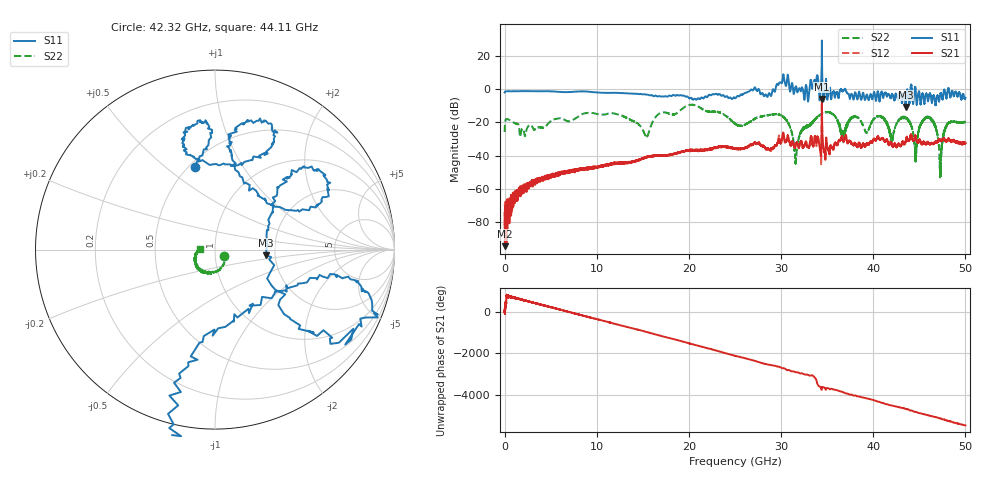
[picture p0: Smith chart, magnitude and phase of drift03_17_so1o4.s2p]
!Created with skrf (http://scikit-rf.org).
# Hz S RI R 50.0
!freq ReS11 ImS11 ReS21 ImS21 ReS12 ImS12 ReS22 ImS22
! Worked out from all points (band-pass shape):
!   10000 points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, 5.3 MHz to 50 GHz, reference 50 ohm
!   highest |S21| = -5.97 dB at 34.43 GHz (marker M1); lowest = -94.3 dB at 50.3 MHz (marker M2)
!   |S21| within 3 dB of the highest: 34.42771 GHz to 34.43514 GHz (7.424 MHz wide, 0.0216 % of centre)
!   lowest |S11| = -10.9 dB at 43.53 GHz (marker M3), VSWR 1.80, Z = 89.5 - j6.14 ohm
!   |S11| at or under -10 dB: 43.50022 GHz to 43.54141 GHz (41.19 MHz wide, 0.0947 % of centre)
!   |S22| runs from -53.7 to -9.4 dB; largest |S21 - S12| = 0.15
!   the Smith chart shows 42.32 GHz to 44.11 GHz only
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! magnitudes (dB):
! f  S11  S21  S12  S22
! 5.3 MHz  -2.1  -74.4  -80.9  -25.8
! 50.3 MHz  -1.6  -94.3  -74.0  -20.6
! 2.135 GHz  -1.3  -59.1  -57.7  -26.7
! 8.34 GHz  -1.5  -48.6  -47.9  -15.4
! 12.46 GHz  -2.4  -44.2  -44.8  -15.5
! 15.39 GHz  -3.5  -40.8  -40.9  -28.7
! 16.67 GHz  -4.4  -39.8  -40.1  -15.3
! 20.45 GHz  -6.5  -36.7  -36.9  -9.5
! 25.01 GHz  -5.5  -35.9  -35.8  -20.9
! 29.93 GHz  4.0  -32.5  -31.7  -15.7
! 31.6 GHz  1.5  -33.6  -33.8  -44.4
! 33.34 GHz  2.5  -30.1  -30.7  -20.6
! 34.43 GHz  29.1  -6.0  -8.1  -14.6
! 36.69 GHz  -1.4  -29.9  -29.7  -26.2
! 37.96 GHz  -3.7  -32.7  -32.9  -16.5
! 41.67 GHz  -3.2  -33.3  -33.5  -23.8
! 43.53 GHz  -10.9  -31.2  -31.2  -17.5
! 44.6 GHz  -0.7  -28.6  -28.9  -42.3
! 46.25 GHz  -4.3  -32.9  -32.9  -17.5
! 47.29 GHz  -3.0  -30.8  -30.7  -52.9
! 48.11 GHz  -0.1  -30.0  -30.3  -21.0
! 50 GHz  -5.3  -32.4  -32.6  -19.7
